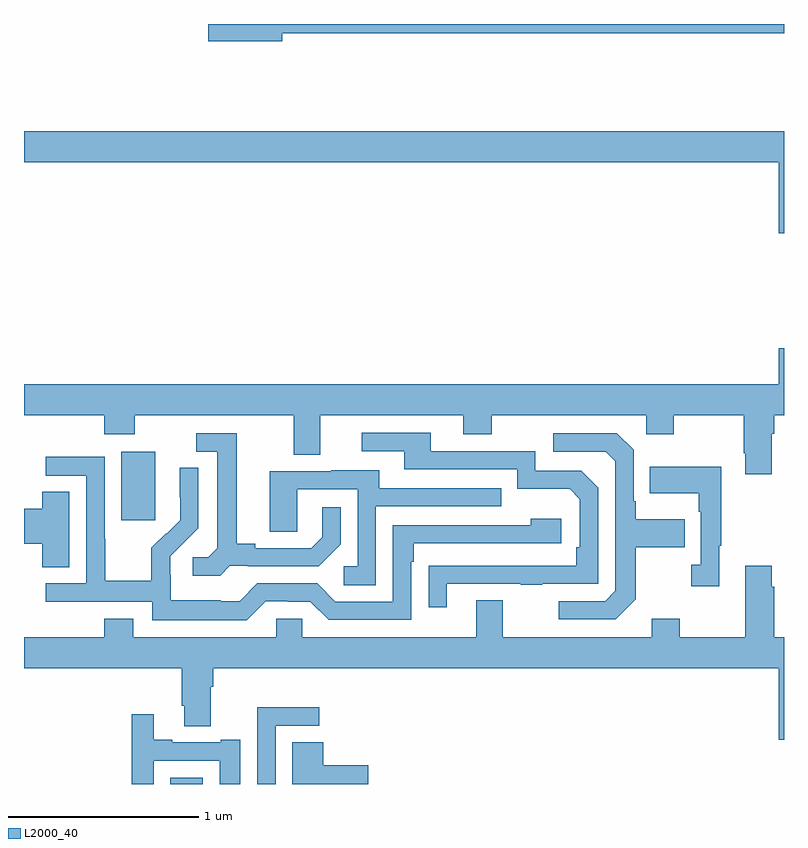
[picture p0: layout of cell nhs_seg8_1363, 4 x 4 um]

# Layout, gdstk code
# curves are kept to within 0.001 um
import gdstk
lib = gdstk.Library(unit=1e-6, precision=1e-09)
def R(c, l, rs):  # rectangles x0, y0, x1, y1
    for r in rs: c.add(gdstk.rectangle(r[:2], r[2:], *l))
def P(c, l, *ps):  # polygons
    for p in ps: c.add(gdstk.Polygon(p, *l))
L2000_40 = (2000, 40)

nhs_seg8_1363 = lib.new_cell('nhs_seg8_1363')
R(nhs_seg8_1363, L2000_40, [(197.771,1107.9,197.941,1107.934), (197.513,1109.289,197.692,1109.65)])
P(nhs_seg8_1363, L2000_40, [(198.358,1111.852),(201,1111.852),(201,1111.9),(197.97,1111.9),(197.97,1111.81),(198.358,1111.81)],
  [(201,1111.336),(197,1111.336),(197,1111.172),(200.972,1111.172),(200.972,1110.798),(201,1110.798)],
  [(200.935,1109.744),(200.948,1109.744),(200.948,1109.84),(201,1109.84),(201,1110.193),(200.972,1110.193),(200.972,1110.004),(197,1110.004),(197,1109.84),(197.423,1109.84),(197.423,1109.741),(197.583,1109.741),(197.583,1109.84),(198.419,1109.84),(198.419,1109.632),(198.559,1109.632),(198.559,1109.84),(199.313,1109.84),(199.313,1109.741),(199.461,1109.741),(199.461,1109.84),(200.274,1109.84),(200.274,1109.741),(200.421,1109.741),(200.421,1109.84),(200.788,1109.84),(200.788,1109.641),(200.795,1109.641),(200.795,1109.529),(200.935,1109.529)],
  [(199.225,1108.953),(199.615,1108.953),(199.615,1108.948),(199.727,1108.948),(199.727,1108.953),(200.022,1108.953),(200.022,1109.46),(199.932,1109.55),(199.692,1109.55),(199.692,1109.652),(199.141,1109.652),(199.141,1109.748),(198.777,1109.748),(198.777,1109.652),(199.001,1109.652),(199.001,1109.556),(199.596,1109.556),(199.596,1109.453),(199.873,1109.453),(199.926,1109.4),(199.926,1109.146),(199.906,1109.146),(199.906,1109.049),(199.129,1109.048),(199.129,1108.83),(199.225,1108.83)],
  [(200.221,1108.873),(200.221,1109.146),(200.477,1109.146),(200.477,1109.293),(200.221,1109.293),(200.221,1109.389),(200.208,1109.389),(200.208,1109.658),(200.121,1109.745),(199.785,1109.745),(199.785,1109.649),(200.061,1109.649),(200.112,1109.598),(200.112,1108.917),(200.058,1108.863),(199.815,1108.863),(199.815,1108.767),(200.115,1108.767)],
  [(198.084,1109.049),(198.178,1109.049),(198.178,1109.046),(198.55,1109.046),(198.666,1109.162),(198.666,1109.356),(198.569,1109.356),(198.569,1109.199),(198.512,1109.142),(198.217,1109.142),(198.217,1109.165),(198.121,1109.165),(198.121,1109.745),(197.907,1109.745),(197.907,1109.649),(198.017,1109.649),(198.017,1109.141),(197.97,1109.094),(197.889,1109.094),(197.889,1108.997),(198.032,1108.997)],
  [(198.273,1108.863),(198.389,1108.863),(198.389,1108.86),(198.507,1108.86),(198.603,1108.764),(199.038,1108.764),(199.038,1109.069),(199.051,1109.069),(199.051,1109.166),(199.828,1109.166),(199.828,1109.296),(199.667,1109.296),(199.667,1109.262),(198.942,1109.262),(198.942,1108.86),(198.639,1108.86),(198.543,1108.956),(198.228,1108.956),(198.135,1108.863),(198.035,1108.863),(198.035,1108.867),(197.772,1108.867),(197.772,1109.001),(197.77,1109.001),(197.77,1109.098),(197.916,1109.246),(197.916,1109.564),(197.82,1109.564),(197.82,1109.41),(197.822,1109.41),(197.822,1109.288),(197.751,1109.217),(197.748,1109.22),(197.671,1109.143),(197.671,1108.969),(197.427,1108.969),(197.427,1109.192),(197.424,1109.192),(197.424,1109.622),(197.115,1109.622),(197.115,1109.523),(197.328,1109.523),(197.328,1108.956),(197.115,1108.956),(197.115,1108.86),(197.676,1108.86),(197.676,1108.763),(198.173,1108.763)],
  [(200.659,1109.153),(200.671,1109.153),(200.671,1109.569),(200.293,1109.569),(200.293,1109.429),(200.55,1109.429),(200.55,1109.333),(200.562,1109.333),(200.562,1109.054),(200.511,1109.054),(200.511,1108.941),(200.659,1108.941)],
  [(198.852,1109.361),(199.511,1109.361),(199.511,1109.457),(198.871,1109.457),(198.871,1109.551),(198.617,1109.551),(198.617,1109.547),(198.293,1109.547),(198.293,1109.227),(198.438,1109.227),(198.438,1109.451),(198.756,1109.451),(198.756,1109.046),(198.684,1109.046),(198.684,1108.945),(198.852,1108.945)],
  [(197.239,1109.438),(197.096,1109.438),(197.096,1109.348),(197,1109.348),(197,1109.165),(197.096,1109.165),(197.096,1109.041),(197.239,1109.041)],
  [(201,1108.672),(200.948,1108.672),(200.948,1108.937),(200.935,1108.937),(200.935,1109.05),(200.795,1109.05),(200.795,1108.672),(200.451,1108.672),(200.451,1108.771),(200.303,1108.771),(200.303,1108.672),(199.519,1108.672),(199.519,1108.867),(199.379,1108.867),(199.379,1108.672),(198.465,1108.672),(198.465,1108.77),(198.327,1108.77),(198.327,1108.672),(197.575,1108.672),(197.575,1108.771),(197.423,1108.771),(197.423,1108.672),(197,1108.672),(197,1108.508),(197.831,1108.508),(197.831,1108.312),(197.843,1108.312),(197.843,1108.204),(197.983,1108.204),(197.983,1108.412),(197.996,1108.412),(197.996,1108.508),(200.972,1108.508),(200.972,1108.134),(201,1108.134)],
  [(198.324,1108.206),(198.553,1108.206),(198.553,1108.304),(198.228,1108.304),(198.228,1107.9),(198.324,1107.9)],
  [(197.682,1108.023),(198.029,1108.023),(198.029,1107.9),(198.139,1107.9),(198.139,1108.132),(198.035,1108.132),(198.035,1108.119),(197.779,1108.119),(197.779,1108.132),(197.683,1108.132),(197.683,1108.267),(197.566,1108.267),(197.566,1107.9),(197.682,1107.9)],
  [(198.811,1107.998),(198.575,1107.998),(198.575,1108.121),(198.413,1108.121),(198.413,1107.9),(198.811,1107.9)])

lib.write_gds('nhs_seg8_1363.gds')
